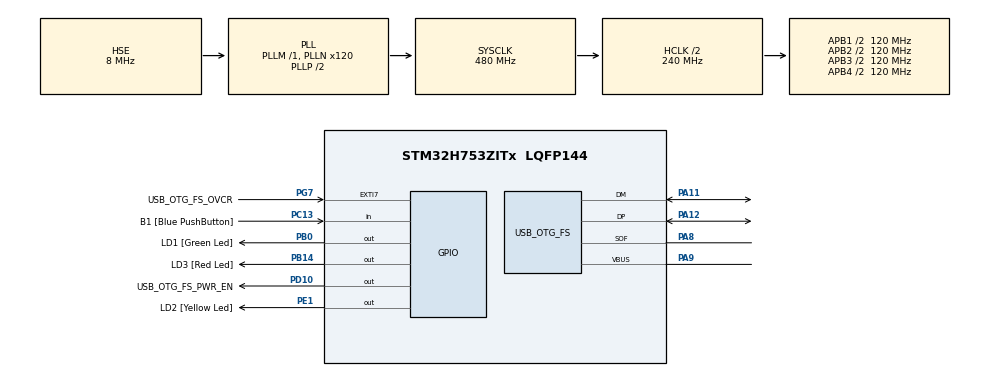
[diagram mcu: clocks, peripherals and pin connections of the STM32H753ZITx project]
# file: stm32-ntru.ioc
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CORTEX_M7.CPU_DCache=Enabled
CORTEX_M7.CPU_ICache=Enabled
CORTEX_M7.MPU_Control=__NULL
HASH.SecureHashAlgorithmType=SHA256
Mcu.Family=STM32H7
Mcu.Name=STM32H753ZITx
Mcu.Package=LQFP144
NVIC.OTG_FS_IRQn=true\:0\:0\:false\:false\:true\:false\:true\:true
NVIC.PriorityGroup=NVIC_PRIORITYGROUP_4
PA1.Signal=ETH_REF_CLK
PA11.Mode=Device_Only
PA11.Signal=USB_OTG_FS_DM
PA12.Mode=Device_Only
PA12.Signal=USB_OTG_FS_DP
PA13\ (JTMS/SWDIO).Mode=Serial_Wire
PA13\ (JTMS/SWDIO).Signal=DEBUG_JTMS-SWDIO
PA14\ (JTCK/SWCLK).Mode=Serial_Wire
PA14\ (JTCK/SWCLK).Signal=DEBUG_JTCK-SWCLK
PA2.Signal=ETH_MDIO
PA7.Signal=ETH_CRS_DV
PA8.Mode=Activate_SOF_FS
PA8.Signal=USB_OTG_FS_SOF
PA9.Mode=Activate_VBUS
PA9.Signal=USB_OTG_FS_VBUS
PB0.GPIO_Label=LD1 [Green Led]
PB0.Signal=GPIO_Output
PB13.Signal=ETH_TXD1
PB14.GPIO_Label=LD3 [Red Led]
PB14.Signal=GPIO_Output
PC1.Signal=ETH_MDC
PC13.GPIO_Label=B1 [Blue PushButton]
PC13.Signal=GPIO_Input
PC14-OSC32_IN\ (OSC32_IN).Mode=LSE-External-Oscillator
PC14-OSC32_IN\ (OSC32_IN).Signal=RCC_OSC32_IN
PC15-OSC32_OUT\ (OSC32_OUT).Mode=LSE-External-Oscillator
PC15-OSC32_OUT\ (OSC32_OUT).Signal=RCC_OSC32_OUT
PC4.Signal=ETH_RXD0
PC5.Signal=ETH_RXD1
PD10.GPIO_Label=USB_OTG_FS_PWR_EN
PD10.Signal=GPIO_Output
PD8.GPIO_Label=STLINK_RX
PD8.Signal=USART3_TX
PD9.GPIO_Label=STLINK_TX
PD9.Signal=USART3_RX
PE1.GPIO_Label=LD2 [Yellow Led]
PE1.Signal=GPIO_Output
PG11.Signal=ETH_TX_EN
PG13.Signal=ETH_TXD0
PG7.GPIO_Label=USB_OTG_FS_OVCR
PG7.Signal=GPXTI7
PH0-OSC_IN\ (PH0).Mode=HSE-External-Clock-Source
PH0-OSC_IN\ (PH0).Signal=RCC_OSC_IN
PH1-OSC_OUT\ (PH1).Signal=RCC_OSC_OUT
ProjectManager.HeapSize=0x100
ProjectManager.StackSize=0x1000
ProjectManager.TargetToolchain=CMake
RCC.ADCFreq_Value=16125000
RCC.APB1Freq_Value=120000000
RCC.APB2Freq_Value=120000000
RCC.APB3Freq_Value=120000000
RCC.APB4Freq_Value=120000000
RCC.CortexFreq_Value=480000000
RCC.D1PPRE=RCC_APB3_DIV2
RCC.D2PPRE1=RCC_APB1_DIV2
RCC.D2PPRE2=RCC_APB2_DIV2
RCC.D3PPRE=RCC_APB4_DIV2
RCC.DATA_CACHE_ENABLE=1
RCC.DIVM1=1
RCC.DIVN1=120
RCC.DIVQ1=15
RCC.HCLKFreq_Value=240000000
RCC.HPRE=RCC_HCLK_DIV2
RCC.HSE_VALUE=8000000
RCC.INSTRUCTION_CACHE_ENABLE=1
RCC.PLLSourceVirtual=RCC_PLLSOURCE_HSE
RCC.PREFETCH_ENABLE=1
RCC.SYSCLKFreq_VALUE=480000000
RCC.SYSCLKSource=RCC_SYSCLKSOURCE_PLLCLK
RCC.USBCLockSelection=RCC_USBCLKSOURCE_HSI48
RCC.USBFreq_Value=48000000
USB_DEVICE.CLASS_NAME_FS=CDC
USB_DEVICE.MANUFACTURER_STRING-CDC_FS=ABW
USB_DEVICE.VirtualMode-CDC_FS=Cdc
USB_DEVICE.VirtualModeFS=Cdc_FS
USB_OTG_FS.Sof_enable=ENABLE
USB_OTG_FS.VirtualMode=Device_Only
USB_OTG_FS.battery_charging_enable=DISABLE
USB_OTG_FS.dma_enable=DISABLE
USB_OTG_FS.low_power_enable=DISABLE
USB_OTG_FS.lpm_enable=ENABLE
USB_OTG_FS.use_dedicated_ep1=DISABLE
USB_OTG_FS.vbus_sensing_enable=ENABLE
VP_HASH_VS_HASH.Mode=HASH_Activate
VP_RNG_VS_RNG.Mode=RNG_Activate
VP_USB_DEVICE_VS_USB_DEVICE_CDC_FS.Mode=CDC_FS
board=NUCLEO-H753ZI

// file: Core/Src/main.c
/* USER CODE BEGIN Header */
/**
 ******************************************************************************
 * @file           : main.c
 * @brief          : Main program body
 ******************************************************************************
 * @attention
 *
 * Copyright (c) 2024 STMicroelectronics.
 * All rights reserved.
 *
 * This software is licensed under terms that can be found in the LICENSE file
 * in the root directory of this software component.
 * If no LICENSE file comes with this software, it is provided AS-IS.
 *
 ******************************************************************************
 */
/* USER CODE END Header */
#include "main.h"
#include "usb_device.h"

/* USER CODE BEGIN Includes */

#include <string.h>

#include "usbd_cdc_if.h"
#include "stm32h7xx_hal_hash.h"
#include "stm32h7xx_hal_rng.h"

#include "api.h"

/* USER CODE END Includes */

/* USER CODE BEGIN PD */

#define AT_COMMAND_LENGTH 4
#define N_BENCH 50

/* USER CODE END PD */

HASH_HandleTypeDef hhash;

RNG_HandleTypeDef hrng;

/* USER CODE BEGIN PV */

volatile uint8_t USBD_Connected = 0;

char current_buff[64];

__attribute__((section("._ram_d1"))) char rx_buffer[10240], tx_buffer[10240],
    pub_key[CRYPTO_PUBLICKEYBYTES], sec_key[CRYPTO_SECRETKEYBYTES];

uint32_t n_received = 0, n_stored = 0;
uint8_t tr_flag = 0;

/* USER CODE END PV */

void SystemClock_Config(void);
static void MX_GPIO_Init(void);
static void MX_HASH_Init(void);
static void MX_RNG_Init(void);
/* USER CODE BEGIN PFP */

static void schedule_error_message(void)
{
  strcpy(tx_buffer, "ERROR\r\n");
}
static void schedule_ok_message(void)
{
  strcpy(tx_buffer, "OK\r\n");
}
static void schedule_overflow_message(void)
{
  strcpy(tx_buffer, "OVERFLOW\r\n");
}

static int8_t encode_hex_string(char *src, char *out, uint32_t len);
static int8_t expand_hex_string(char *src, char *out, uint32_t len);

/* USER CODE END PFP */

int main(void)
{

  /* Enable the CPU Cache */

  /* Enable I-Cache---------------------------------------------------------*/
  SCB_EnableICache();

  /* Enable D-Cache---------------------------------------------------------*/
  SCB_EnableDCache();

  /* MCU Configuration--------------------------------------------------------*/

  /* Reset of all peripherals, Initializes the Flash interface and the Systick. */
  HAL_Init();

  /* Configure the system clock */
  SystemClock_Config();

  /* Initialize all configured peripherals */
  MX_GPIO_Init();
  MX_USB_DEVICE_Init();
  MX_HASH_Init();
  MX_RNG_Init();
  /* USER CODE BEGIN 2 */

  memset(rx_buffer, 0, sizeof(rx_buffer));
  memset(tx_buffer, 0, sizeof(tx_buffer));
  memset(current_buff, 0, sizeof(current_buff));
  memset(pub_key, 0, sizeof(pub_key));
  memset(sec_key, 0, sizeof(sec_key));

  // Generate an initial key pair
  crypto_sign_keypair((unsigned char *)pub_key, (unsigned char *)sec_key);

  /* USER CODE END 2 */

  /* Infinite loop */
  /* USER CODE BEGIN WHILE */
  while (1)
  {
    n_received = CDC_RXQueue_Dequeue(current_buff, sizeof(current_buff));
    if (tr_flag)
    {
      CDC_TransmitString(tx_buffer);
      tr_flag = 0;
    }
    if (n_received == 0)
      continue;
    // Check if the buffer can store expanded hex data
    if (n_stored + n_received < sizeof(rx_buffer))
    {
      memcpy(rx_buffer + n_stored, current_buff, n_received);
      n_stored += n_received;
    }
    else
    {
      n_stored = 0;
      schedule_overflow_message();
      tr_flag = 1;
      continue;
    }
    // Check if we have a complete command
    if (rx_buffer[n_stored - 1] == '\n')
    {
      rx_buffer[n_stored - 1] = '\0';
      if (n_stored >= 2 && rx_buffer[n_stored - 2] == '\r')
      {
        rx_buffer[n_stored - 2] = '\0';
      }
      n_stored = 0;

      // A complete command was received - send a response
      tr_flag = 1;

      /*
       * AT command reference:
       *
       * All commands are case-insensitive
       * Unless otherwise specified, commands return "OK" on success, "ERROR" on failure
       * and "OVERFLOW" on data size issues and receive buffer overflow
       *
       * AT+S <raw_data> signs the <hex_string> and returns the signed data as <hex_string>
       * AT+M <hex_string> sets the private key to the <hex_string> if supported by the algorithm
       * AT+V <hex_string> verifies the <hex_string> signature
       *
       * AT+B signs the pub_key (data signed does not matter, just benchmarking)
       * N_BENCH times and returns the average time in msec as <number_string>
       *
       * AT+I returns info about the currently used algorithm as <string>
       * AT+P returns the currently used public key as <hex_string>
       * AT+K returns the currently used private key as <hex_string>
       * AT+T returns the current HAL_Tick value[msec] as <number_string>; used to estimate performance
       * AT+G generates a new key pair
       *
       * AT+R benchmarks key generation over N_BENCH iterations
       * and returns the average time in msec as <number_string>
       */

      if (strncmp(rx_buffer, "AT+S ", AT_COMMAND_LENGTH + 1) == 0)
      {
        uint64_t len = strlen(rx_buffer + AT_COMMAND_LENGTH + 1);
        if (expand_hex_string(rx_buffer + AT_COMMAND_LENGTH + 1, rx_buffer, len) != 0)
        {
          schedule_error_message();
          continue;
        }
        len /= 2;
        if ((len + CRYPTO_BYTES) * 2 > sizeof(tx_buffer) || len + CRYPTO_BYTES > sizeof(rx_buffer))
        {
          schedule_overflow_message();
          continue;
        }
        crypto_sign((unsigned char *)rx_buffer, &len, (unsigned char *)rx_buffer, len, (unsigned char *)sec_key);
        encode_hex_string(rx_buffer, tx_buffer, len);

        /*
         * For some combinations of input data and keys, the signing function
         * may generate a signature that is invalid. To handle this, we
         * will try to verify the signature and if it fails, we will return an
         * error message.
         */

        if (crypto_sign_open((unsigned char *)rx_buffer, &len, (unsigned char *)rx_buffer, len, (unsigned char *)pub_key) != 0)
        {
          schedule_error_message();
          continue;
        }
      }
      else if (strncmp(rx_buffer, "AT+M ", AT_COMMAND_LENGTH + 1) == 0)
      {
        if (strncmp(CRYPTO_ALGNAME, "NTRU", 4) == 0)
        {
          schedule_error_message();
          continue;
        }
        uint32_t len = strlen(rx_buffer + AT_COMMAND_LENGTH + 1);
        if (len != CRYPTO_SECRETKEYBYTES * 2 ||
            expand_hex_string(rx_buffer + AT_COMMAND_LENGTH + 1, sec_key, len) != 0)
        {
          schedule_overflow_message();
          continue;
        }
        // TODO: Implement public key generation
        schedule_ok_message();
        continue;
      }
      else if (strncmp(rx_buffer, "AT+V ", AT_COMMAND_LENGTH + 1) == 0)
      {
        uint64_t len = strlen(rx_buffer + AT_COMMAND_LENGTH + 1);
        if (expand_hex_string(rx_buffer + AT_COMMAND_LENGTH + 1, rx_buffer, len) != 0)
        {
          schedule_overflow_message();
          continue;
        }
        len /= 2;
        if (crypto_sign_open((unsigned char *)rx_buffer, &len, (unsigned char *)rx_buffer, len, (unsigned char *)pub_key) != 0)
        {
          schedule_error_message();
          continue;
        }
        else
        {
          schedule_ok_message();
          continue;
        }
      }
      else if (strncmp(rx_buffer, "AT+B", AT_COMMAND_LENGTH) == 0)
      {
        uint64_t len;
        uint32_t start = HAL_GetTick();
        for (uint8_t i = 0; i < N_BENCH; i++)
        {
          // Uses the public key as the data to sign
          crypto_sign((unsigned char *)rx_buffer, &len, (unsigned char *)pub_key, sizeof(pub_key), (unsigned char *)sec_key);
        }
        utoa((HAL_GetTick() - start) / N_BENCH, tx_buffer, 10);
      }
      else if (strncmp(rx_buffer, "AT+I", AT_COMMAND_LENGTH) == 0)
      {
        strcpy(tx_buffer, CRYPTO_ALGNAME);
        strcat(tx_buffer, "\r\n");
        strcat(tx_buffer, "Public key length: ");
        utoa(CRYPTO_PUBLICKEYBYTES, tx_buffer + strlen(tx_buffer), 10);
        strcat(tx_buffer, "\r\n");
        strcat(tx_buffer, "Private key length: ");
        utoa(CRYPTO_SECRETKEYBYTES, tx_buffer + strlen(tx_buffer), 10);
        strcat(tx_buffer, "\r\n");
        strcat(tx_buffer, "Maximum message length: ");
        utoa(sizeof(rx_buffer) / 2 - CRYPTO_BYTES - AT_COMMAND_LENGTH - 1,
             tx_buffer + strlen(tx_buffer), 10);
      }
      else if (strncmp(rx_buffer, "AT+P", AT_COMMAND_LENGTH) == 0)
      {
        encode_hex_string(pub_key, tx_buffer, sizeof(pub_key));
      }
      else if (strncmp(rx_buffer, "AT+K", AT_COMMAND_LENGTH) == 0)
      {
        encode_hex_string(sec_key, tx_buffer, sizeof(sec_key));
      }
      else if (strncmp(rx_buffer, "AT+T", AT_COMMAND_LENGTH) == 0)
      {
        utoa(HAL_GetTick(), tx_buffer, 10);
      }
      else if (strncmp(rx_buffer, "AT+G", AT_COMMAND_LENGTH) == 0)
      {
        crypto_sign_keypair((unsigned char *)pub_key, (unsigned char *)sec_key);
        schedule_ok_message();
        continue;
      }
      else if (strncmp(rx_buffer, "AT+R", AT_COMMAND_LENGTH) == 0)
      {
        uint32_t start = HAL_GetTick();
        for (uint8_t i = 0; i < N_BENCH; i++)
        {
          crypto_sign_keypair((unsigned char *)pub_key, (unsigned char *)sec_key);
        }
        utoa((HAL_GetTick() - start) / N_BENCH, tx_buffer, 10);
      }
      else
      {
        schedule_error_message();
        continue;
      }
      strcat(tx_buffer, "\r\n");
    }
    /* USER CODE END WHILE */

  }
}

void SystemClock_Config(void)
{
  RCC_OscInitTypeDef RCC_OscInitStruct = {0};
  RCC_ClkInitTypeDef RCC_ClkInitStruct = {0};

  /** Supply configuration update enable
   */
  HAL_PWREx_ConfigSupply(PWR_LDO_SUPPLY);

  /** Configure the main internal regulator output voltage
   */
  __HAL_PWR_VOLTAGESCALING_CONFIG(PWR_REGULATOR_VOLTAGE_SCALE1);

  while (!__HAL_PWR_GET_FLAG(PWR_FLAG_VOSRDY))
  {
  }

  __HAL_RCC_SYSCFG_CLK_ENABLE();
  __HAL_PWR_VOLTAGESCALING_CONFIG(PWR_REGULATOR_VOLTAGE_SCALE0);

  while (!__HAL_PWR_GET_FLAG(PWR_FLAG_VOSRDY))
  {
  }

  /** Initializes the RCC Oscillators according to the specified parameters
   * in the RCC_OscInitTypeDef structure.
   */
  RCC_OscInitStruct.OscillatorType = RCC_OSCILLATORTYPE_HSI48 | RCC_OSCILLATORTYPE_HSE;
  RCC_OscInitStruct.HSEState = RCC_HSE_BYPASS;
  RCC_OscInitStruct.HSI48State = RCC_HSI48_ON;
  RCC_OscInitStruct.PLL.PLLState = RCC_PLL_ON;
  RCC_OscInitStruct.PLL.PLLSource = RCC_PLLSOURCE_HSE;
  RCC_OscInitStruct.PLL.PLLM = 1;
  RCC_OscInitStruct.PLL.PLLN = 120;
  RCC_OscInitStruct.PLL.PLLP = 2;
  RCC_OscInitStruct.PLL.PLLQ = 15;
  RCC_OscInitStruct.PLL.PLLR = 2;
  RCC_OscInitStruct.PLL.PLLRGE = RCC_PLL1VCIRANGE_3;
  RCC_OscInitStruct.PLL.PLLVCOSEL = RCC_PLL1VCOWIDE;
  RCC_OscInitStruct.PLL.PLLFRACN = 0;
  if (HAL_RCC_OscConfig(&RCC_OscInitStruct) != HAL_OK)
  {
    Error_Handler();
  }

  /** Initializes the CPU, AHB and APB buses clocks
   */
  RCC_ClkInitStruct.ClockType = RCC_CLOCKTYPE_HCLK | RCC_CLOCKTYPE_SYSCLK | RCC_CLOCKTYPE_PCLK1 | RCC_CLOCKTYPE_PCLK2 | RCC_CLOCKTYPE_D3PCLK1 | RCC_CLOCKTYPE_D1PCLK1;
  RCC_ClkInitStruct.SYSCLKSource = RCC_SYSCLKSOURCE_PLLCLK;
  RCC_ClkInitStruct.SYSCLKDivider = RCC_SYSCLK_DIV1;
  RCC_ClkInitStruct.AHBCLKDivider = RCC_HCLK_DIV2;
  RCC_ClkInitStruct.APB3CLKDivider = RCC_APB3_DIV2;
  RCC_ClkInitStruct.APB1CLKDivider = RCC_APB1_DIV2;
  RCC_ClkInitStruct.APB2CLKDivider = RCC_APB2_DIV2;
  RCC_ClkInitStruct.APB4CLKDivider = RCC_APB4_DIV2;

  if (HAL_RCC_ClockConfig(&RCC_ClkInitStruct, FLASH_LATENCY_4) != HAL_OK)
  {
    Error_Handler();
  }
}

static void MX_HASH_Init(void)
{

  hhash.Init.DataType = HASH_DATATYPE_32B;
  if (HAL_HASH_Init(&hhash) != HAL_OK)
  {
    Error_Handler();
  }
}

static void MX_RNG_Init(void)
{

  hrng.Instance = RNG;
  hrng.Init.ClockErrorDetection = RNG_CED_ENABLE;
  if (HAL_RNG_Init(&hrng) != HAL_OK)
  {
    Error_Handler();
  }
}

static void MX_GPIO_Init(void)
{
  GPIO_InitTypeDef GPIO_InitStruct = {0};

  /* GPIO Ports Clock Enable */
  __HAL_RCC_GPIOE_CLK_ENABLE();
  __HAL_RCC_GPIOC_CLK_ENABLE();
  __HAL_RCC_GPIOF_CLK_ENABLE();
  __HAL_RCC_GPIOH_CLK_ENABLE();
  __HAL_RCC_GPIOA_CLK_ENABLE();
  __HAL_RCC_GPIOB_CLK_ENABLE();
  __HAL_RCC_GPIOG_CLK_ENABLE();
  __HAL_RCC_GPIOD_CLK_ENABLE();

  /*Configure GPIO pin Output Level */
  HAL_GPIO_WritePin(GPIOB, LD1_Pin | LD3_Pin, GPIO_PIN_RESET);

  /*Configure GPIO pin Output Level */
  HAL_GPIO_WritePin(USB_OTG_FS_PWR_EN_GPIO_Port, USB_OTG_FS_PWR_EN_Pin, GPIO_PIN_RESET);

  /*Configure GPIO pin Output Level */
  HAL_GPIO_WritePin(LD2_GPIO_Port, LD2_Pin, GPIO_PIN_RESET);

  /*Configure GPIO pins : PE2 PE3 PE4 PE5
                           PE6 PE7 PE8 PE9
                           PE10 PE11 PE12 PE13
                           PE14 PE15 PE0 */
  GPIO_InitStruct.Pin = GPIO_PIN_2 | GPIO_PIN_3 | GPIO_PIN_4 | GPIO_PIN_5 | GPIO_PIN_6 | GPIO_PIN_7 | GPIO_PIN_8 | GPIO_PIN_9 | GPIO_PIN_10 | GPIO_PIN_11 | GPIO_PIN_12 | GPIO_PIN_13 | GPIO_PIN_14 | GPIO_PIN_15 | GPIO_PIN_0;
  GPIO_InitStruct.Mode = GPIO_MODE_ANALOG;
  GPIO_InitStruct.Pull = GPIO_NOPULL;
  HAL_GPIO_Init(GPIOE, &GPIO_InitStruct);

  /*Configure GPIO pin : B1_Pin */
  GPIO_InitStruct.Pin = B1_Pin;
  GPIO_InitStruct.Mode = GPIO_MODE_INPUT;
  GPIO_InitStruct.Pull = GPIO_NOPULL;
  HAL_GPIO_Init(B1_GPIO_Port, &GPIO_InitStruct);

  /*Configure GPIO pins : PF0 PF1 PF2 PF3
                           PF4 PF5 PF6 PF7
                           PF8 PF9 PF10 PF11
                           PF12 PF13 PF14 PF15 */
  GPIO_InitStruct.Pin = GPIO_PIN_0 | GPIO_PIN_1 | GPIO_PIN_2 | GPIO_PIN_3 | GPIO_PIN_4 | GPIO_PIN_5 | GPIO_PIN_6 | GPIO_PIN_7 | GPIO_PIN_8 | GPIO_PIN_9 | GPIO_PIN_10 | GPIO_PIN_11 | GPIO_PIN_12 | GPIO_PIN_13 | GPIO_PIN_14 | GPIO_PIN_15;
  GPIO_InitStruct.Mode = GPIO_MODE_ANALOG;
  GPIO_InitStruct.Pull = GPIO_NOPULL;
  HAL_GPIO_Init(GPIOF, &GPIO_InitStruct);

  /*Configure GPIO pins : PC0 PC2 PC3 PC6
                           PC7 PC8 PC9 PC10
                           PC11 PC12 */
  GPIO_InitStruct.Pin = GPIO_PIN_0 | GPIO_PIN_2 | GPIO_PIN_3 | GPIO_PIN_6 | GPIO_PIN_7 | GPIO_PIN_8 | GPIO_PIN_9 | GPIO_PIN_10 | GPIO_PIN_11 | GPIO_PIN_12;
  GPIO_InitStruct.Mode = GPIO_MODE_ANALOG;
  GPIO_InitStruct.Pull = GPIO_NOPULL;
  HAL_GPIO_Init(GPIOC, &GPIO_InitStruct);

  /*Configure GPIO pins : PC1 PC4 PC5 */
  GPIO_InitStruct.Pin = GPIO_PIN_1 | GPIO_PIN_4 | GPIO_PIN_5;
  GPIO_InitStruct.Mode = GPIO_MODE_AF_PP;
  GPIO_InitStruct.Pull = GPIO_NOPULL;
  GPIO_InitStruct.Speed = GPIO_SPEED_FREQ_LOW;
  GPIO_InitStruct.Alternate = GPIO_AF11_ETH;
  HAL_GPIO_Init(GPIOC, &GPIO_InitStruct);

  /*Configure GPIO pins : PA0 PA3 PA4 PA5
                           PA6 PA10 PA15 */
  GPIO_InitStruct.Pin = GPIO_PIN_0 | GPIO_PIN_3 | GPIO_PIN_4 | GPIO_PIN_5 | GPIO_PIN_6 | GPIO_PIN_10 | GPIO_PIN_15;
  GPIO_InitStruct.Mode = GPIO_MODE_ANALOG;
  GPIO_InitStruct.Pull = GPIO_NOPULL;
  HAL_GPIO_Init(GPIOA, &GPIO_InitStruct);

  /*Configure GPIO pins : PA1 PA2 PA7 */
  GPIO_InitStruct.Pin = GPIO_PIN_1 | GPIO_PIN_2 | GPIO_PIN_7;
  GPIO_InitStruct.Mode = GPIO_MODE_AF_PP;
  GPIO_InitStruct.Pull = GPIO_NOPULL;
  GPIO_InitStruct.Speed = GPIO_SPEED_FREQ_LOW;
  GPIO_InitStruct.Alternate = GPIO_AF11_ETH;
  HAL_GPIO_Init(GPIOA, &GPIO_InitStruct);

  /*Configure GPIO pins : LD1_Pin LD3_Pin */
  GPIO_InitStruct.Pin = LD1_Pin | LD3_Pin;
  GPIO_InitStruct.Mode = GPIO_MODE_OUTPUT_PP;
  GPIO_InitStruct.Pull = GPIO_NOPULL;
  GPIO_InitStruct.Speed = GPIO_SPEED_FREQ_LOW;
  HAL_GPIO_Init(GPIOB, &GPIO_InitStruct);

  /*Configure GPIO pins : PB1 PB2 PB10 PB11
                           PB12 PB15 PB3 PB4
                           PB5 PB6 PB7 PB8
                           PB9 */
  GPIO_InitStruct.Pin = GPIO_PIN_1 | GPIO_PIN_2 | GPIO_PIN_10 | GPIO_PIN_11 | GPIO_PIN_12 | GPIO_PIN_15 | GPIO_PIN_3 | GPIO_PIN_4 | GPIO_PIN_5 | GPIO_PIN_6 | GPIO_PIN_7 | GPIO_PIN_8 | GPIO_PIN_9;
  GPIO_InitStruct.Mode = GPIO_MODE_ANALOG;
  GPIO_InitStruct.Pull = GPIO_NOPULL;
  HAL_GPIO_Init(GPIOB, &GPIO_InitStruct);

  /*Configure GPIO pins : PG0 PG1 PG2 PG3
                           PG4 PG5 PG6 PG8
                           PG9 PG10 PG12 PG14
                           PG15 */
  GPIO_InitStruct.Pin = GPIO_PIN_0 | GPIO_PIN_1 | GPIO_PIN_2 | GPIO_PIN_3 | GPIO_PIN_4 | GPIO_PIN_5 | GPIO_PIN_6 | GPIO_PIN_8 | GPIO_PIN_9 | GPIO_PIN_10 | GPIO_PIN_12 | GPIO_PIN_14 | GPIO_PIN_15;
  GPIO_InitStruct.Mode = GPIO_MODE_ANALOG;
  GPIO_InitStruct.Pull = GPIO_NOPULL;
  HAL_GPIO_Init(GPIOG, &GPIO_InitStruct);

  /*Configure GPIO pin : PB13 */
  GPIO_InitStruct.Pin = GPIO_PIN_13;
  GPIO_InitStruct.Mode = GPIO_MODE_AF_PP;
  GPIO_InitStruct.Pull = GPIO_NOPULL;
  GPIO_InitStruct.Speed = GPIO_SPEED_FREQ_LOW;
  GPIO_InitStruct.Alternate = GPIO_AF11_ETH;
  HAL_GPIO_Init(GPIOB, &GPIO_InitStruct);

  /*Configure GPIO pins : STLINK_RX_Pin STLINK_TX_Pin */
  GPIO_InitStruct.Pin = STLINK_RX_Pin | STLINK_TX_Pin;
  GPIO_InitStruct.Mode = GPIO_MODE_AF_PP;
  GPIO_InitStruct.Pull = GPIO_NOPULL;
  GPIO_InitStruct.Speed = GPIO_SPEED_FREQ_LOW;
  GPIO_InitStruct.Alternate = GPIO_AF7_USART3;
  HAL_GPIO_Init(GPIOD, &GPIO_InitStruct);

  /*Configure GPIO pin : USB_OTG_FS_PWR_EN_Pin */
  GPIO_InitStruct.Pin = USB_OTG_FS_PWR_EN_Pin;
  GPIO_InitStruct.Mode = GPIO_MODE_OUTPUT_PP;
  GPIO_InitStruct.Pull = GPIO_NOPULL;
  GPIO_InitStruct.Speed = GPIO_SPEED_FREQ_LOW;
  HAL_GPIO_Init(USB_OTG_FS_PWR_EN_GPIO_Port, &GPIO_InitStruct);

  /*Configure GPIO pins : PD11 PD12 PD13 PD14
                           PD15 PD0 PD1 PD2
                           PD3 PD4 PD5 PD6
                           PD7 */
  GPIO_InitStruct.Pin = GPIO_PIN_11 | GPIO_PIN_12 | GPIO_PIN_13 | GPIO_PIN_14 | GPIO_PIN_15 | GPIO_PIN_0 | GPIO_PIN_1 | GPIO_PIN_2 | GPIO_PIN_3 | GPIO_PIN_4 | GPIO_PIN_5 | GPIO_PIN_6 | GPIO_PIN_7;
  GPIO_InitStruct.Mode = GPIO_MODE_ANALOG;
  GPIO_InitStruct.Pull = GPIO_NOPULL;
  HAL_GPIO_Init(GPIOD, &GPIO_InitStruct);

  /*Configure GPIO pin : USB_OTG_FS_OVCR_Pin */
  GPIO_InitStruct.Pin = USB_OTG_FS_OVCR_Pin;
  GPIO_InitStruct.Mode = GPIO_MODE_IT_RISING;
  GPIO_InitStruct.Pull = GPIO_NOPULL;
  HAL_GPIO_Init(USB_OTG_FS_OVCR_GPIO_Port, &GPIO_InitStruct);

  /*Configure GPIO pins : PG11 PG13 */
  GPIO_InitStruct.Pin = GPIO_PIN_11 | GPIO_PIN_13;
  GPIO_InitStruct.Mode = GPIO_MODE_AF_PP;
  GPIO_InitStruct.Pull = GPIO_NOPULL;
  GPIO_InitStruct.Speed = GPIO_SPEED_FREQ_LOW;
  GPIO_InitStruct.Alternate = GPIO_AF11_ETH;
  HAL_GPIO_Init(GPIOG, &GPIO_InitStruct);

  /*Configure GPIO pin : LD2_Pin */
  GPIO_InitStruct.Pin = LD2_Pin;
  GPIO_InitStruct.Mode = GPIO_MODE_OUTPUT_PP;
  GPIO_InitStruct.Pull = GPIO_NOPULL;
  GPIO_InitStruct.Speed = GPIO_SPEED_FREQ_LOW;
  HAL_GPIO_Init(LD2_GPIO_Port, &GPIO_InitStruct);

}

/* USER CODE BEGIN 4 */

static int8_t encode_hex_string(char *src, char *out, uint32_t len)
{
  static char _hex_lookup[] = "0123456789ABCDEF";
  while (len--)
  {
    *out++ = _hex_lookup[((unsigned char)*src) >> 4];
    *out++ = _hex_lookup[((unsigned char)*src) & 0x0F];
    src++;
  }
  // Null-terminate the string
  *out = '\0';
  return 0;
}

static inline int8_t hex_char_to_bin(char c, char *out)
{
  if (c >= '0' && c <= '9')
    *out = (c - '0');
  else if (c >= 'A' && c <= 'F')
    *out = (c - 'A') + 10;
  else if (c >= 'a' && c <= 'f')
    *out = (c - 'a') + 10;
  else
  {
    return -1;
  }
  return 0;
}

static int8_t expand_hex_string(char *src, char *out, uint32_t len)
{
  // It is unclear what side to pad
  if (len < 2 || (len % 2) != 0)
    return -1;

  do
  {
    char value = 0;
    if (hex_char_to_bin(*src++, &value) != 0)
    {
      return -1;
    }
    *out = value << 4;
    if (hex_char_to_bin(*src++, &value) != 0)
    {
      return -1;
    }
    *out++ |= value;
  } while (len -= 2);
  return 0;
}

void randombytes_init(unsigned char *entropy_input,
                      unsigned char *personalization_string,
                      int security_strength)
{
  UNUSED(entropy_input);
  UNUSED(personalization_string);
  UNUSED(security_strength);
}

int randombytes(unsigned char *x, unsigned long long xlen)
{
  uint32_t random;
  uint8_t *ptr = (uint8_t *)&random;
  for (unsigned long long i = 0; i < xlen; i++)
  {
    if (i % 4 == 0)
    {
      HAL_RNG_GenerateRandomNumber(&hrng, &random);
    }
    x[i] = ptr[i % 4];
  }
  return 0;
}

/* USER CODE END 4 */

void Error_Handler(void)
{
  /* USER CODE BEGIN Error_Handler_Debug */
  /* User can add his own implementation to report the HAL error return state */
  __disable_irq();
  HAL_GPIO_WritePin(LD3_GPIO_Port, LD3_Pin, GPIO_PIN_SET);
  while (1)
  {
  }
  /* USER CODE END Error_Handler_Debug */
}
